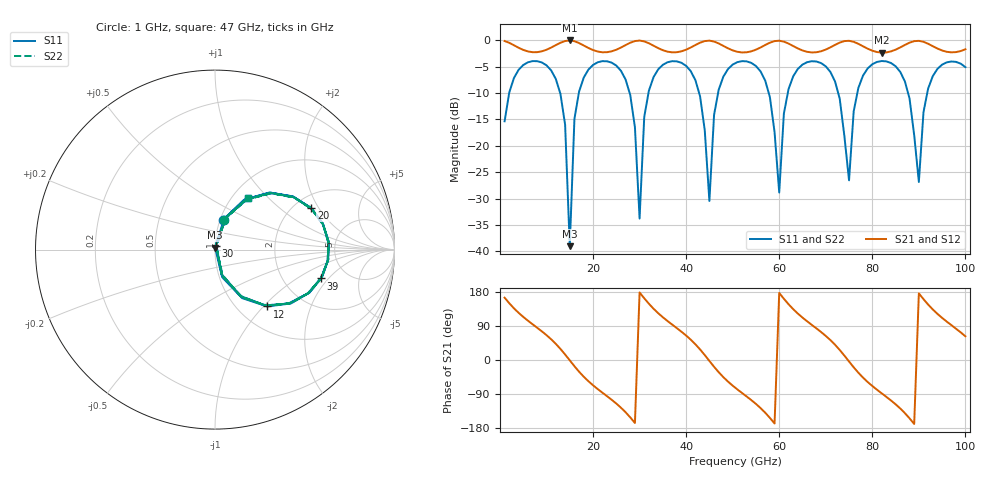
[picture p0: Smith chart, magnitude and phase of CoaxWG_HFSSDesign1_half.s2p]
! Touchstone file exported from HFSS 2020.2.0
!  File:  /home/erdoel/scratch/Other/CoaxWG.aedt
!  Generated:  10:52:40 AM  Oct 13, 2021
!  Design:  HFSSDesign1
!  Project:  CoaxWG
!  Setup:  Setup1
!  Solution:  Sweep
! Variables:
!  th = 0.05mm
!  w = 0.2mm
# GHZ S MA R 50.000000
! Terminal data exported
! Port[1] = 1
! Port[2] = 2
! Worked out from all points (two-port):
!   100 points, 1 GHz to 100 GHz, reference 50 ohm
!   highest |S21| = -0.04 dB at 15 GHz (marker M1); lowest = -2.3 dB at 82 GHz (marker M2)
!   |S21| within 3 dB of the highest: start of sweep to end of sweep
!   lowest |S11| = -39.0 dB at 15 GHz (marker M3), VSWR 1.02, Z = 50 + j1.12 ohm
!   |S11| at or under -10 dB: 12.94 GHz to 16.94 GHz (4.008 GHz wide, 26.8 % of centre); 27.86 GHz to 31.91 GHz (4.046 GHz wide, 13.5 % of centre); 42.79 GHz to 46.87 GHz (4.075 GHz wide, 9.09 % of centre)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
!   |S22| runs from -37.8 to -3.9 dB; largest |S21 - S12| = 1.4e-14
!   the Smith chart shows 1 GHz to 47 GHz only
!   S11 on the Smith chart (normalised r, x): 1 GHz: 1.03, +0.35; 12 GHz: 1.35, -1.05; 20 GHz: 2.46, +1.72; 30 GHz: 1.01, +0.04; 39 GHz: 3.22, -1.65; 47 GHz: 1.19, +0.77
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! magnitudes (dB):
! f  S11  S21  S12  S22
! 1 GHz  -15.3  -0.1  -0.1  -15.3
! 12 GHz  -7.3  -0.9  -0.9  -7.3
! 15 GHz  -39.0  0.0  0.0  -37.8
! 16 GHz  -14.9  -0.2  -0.2  -14.9
! 18 GHz  -7.1  -1.0  -1.0  -7.1
! 20 GHz  -4.7  -1.9  -1.9  -4.7
! 27 GHz  -7.5  -0.9  -0.9  -7.5
! 30 GHz  -33.8  -0.1  -0.1  -33.6
! 34 GHz  -5.5  -1.5  -1.5  -5.5
! 39 GHz  -4.3  -2.1  -2.1  -4.3
! 45 GHz  -30.4  -0.1  -0.1  -30.4
! 47 GHz  -9.4  -0.6  -0.6  -9.4
! 51 GHz  -4.1  -2.2  -2.2  -4.1
! 57 GHz  -7.7  -0.9  -0.9  -7.7
! 60 GHz  -28.8  -0.1  -0.1  -28.8
! 67 GHz  -4.0  -2.3  -2.3  -4.0
! 75 GHz  -26.5  -0.1  -0.1  -26.3
! 82 GHz  -3.9  -2.3  -2.3  -3.9
! 84 GHz  -4.3  -2.1  -2.1  -4.3
! 90 GHz  -26.8  -0.1  -0.1  -27.0
! 93 GHz  -6.8  -1.1  -1.1  -6.8
! 100 GHz  -5.1  -1.7  -1.7  -5.1
